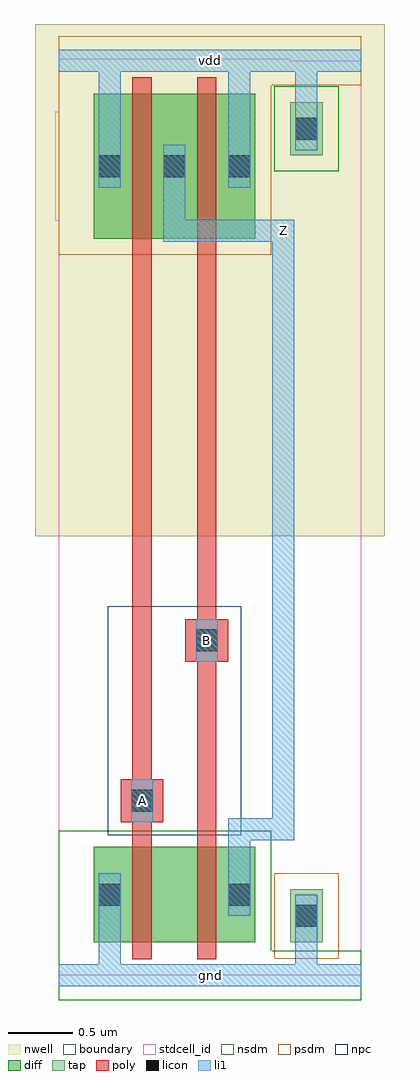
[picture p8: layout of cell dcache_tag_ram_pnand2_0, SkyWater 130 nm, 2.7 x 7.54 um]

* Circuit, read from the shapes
.subckt dcache_tag_ram_pnand2_0 A B Z gnd vdd
XM1 dcache_tag_ram_nmos_m1_w0_740_sli_dactive_2/D A gnd gnd sky130_fd_pr__nfet_01v8 w=0.74 l=0.15
XM2 Z B dcache_tag_ram_nmos_m1_w0_740_sli_dactive_2/D gnd sky130_fd_pr__nfet_01v8 w=0.74 l=0.15
XM3 Z A vdd vdd sky130_fd_pr__pfet_01v8 w=1.12 l=0.15
XM4 vdd B Z vdd sky130_fd_pr__pfet_01v8 w=1.12 l=0.15
.ends

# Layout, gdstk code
import gdstk
lib = gdstk.Library(unit=1e-6, precision=1e-09)
def R(c, l, rs):  # rectangles x0, y0, x1, y1
    for r in rs: c.add(gdstk.rectangle(r[:2], r[2:], *l))
nwell = (64, 20)
diff = (65, 20)
tap = (65, 44)
poly = (66, 20)
licon = (66, 44)
li1 = (67, 20)
stdcell_id = (81, 4)
nsdm = (93, 44)
psdm = (94, 20)
npc = (95, 20)
boundary = (235, 4)

dcache_tag_ram_contact_1 = lib.new_cell('dcache_tag_ram_contact_11')
R(dcache_tag_ram_contact_1, nwell, [(-0.295,-0.255,0.545,0.585)])
R(dcache_tag_ram_contact_1, diff, [(0,0.02,0.25,0.31)])
R(dcache_tag_ram_contact_1, licon, [(0.04,0.08,0.21,0.25)])
R(dcache_tag_ram_contact_1, li1, [(0.04,0,0.21,0.33)])
R(dcache_tag_ram_contact_1, stdcell_id, [(-0.295,-0.255,0.545,0.585)])
R(dcache_tag_ram_contact_1, psdm, [(-0.125,-0.105,0.375,0.435)])
R(dcache_tag_ram_contact_1, boundary, [(-0.295,-0.255,0.545,0.585)])

dcache_tag_ram_pmos_m1_w = lib.new_cell('dcache_tag_ram_pmos_m1_w1_120_sli_dli')
R(dcache_tag_ram_pmos_m1_w, nwell, [(-0.27,-0.27,1.02,1.39)])
R(dcache_tag_ram_pmos_m1_w, diff, [(0,0,0.75,1.12)])
R(dcache_tag_ram_pmos_m1_w, poly, [(0.3,-0.13,0.45,1.25), (0.3,-0.13,0.45,1.25)])
R(dcache_tag_ram_pmos_m1_w, li1, [(0.04,0.395,0.21,0.725), (0.54,0.395,0.71,0.725)])
R(dcache_tag_ram_pmos_m1_w, stdcell_id, [(-0.27,-0.27,1.02,1.39)])
R(dcache_tag_ram_pmos_m1_w, psdm, [(-0.125,-0.125,0.875,1.245)])
R(dcache_tag_ram_pmos_m1_w, boundary, [(-0.27,-0.27,1.02,1.39)])
dcache_tag_ram_pmos_m1_w.add(gdstk.Reference(dcache_tag_ram_contact_1, (0,0.395)))
dcache_tag_ram_pmos_m1_w.add(gdstk.Reference(dcache_tag_ram_contact_1, (0.5,0.395)))
dcache_tag_ram_pmos_m1_w.add(gdstk.Label('G', (0.375,0.56), layer=66, texttype=5))
dcache_tag_ram_pmos_m1_w.add(gdstk.Label('S', (0.125,0.56), layer=67, texttype=5))
dcache_tag_ram_pmos_m1_w.add(gdstk.Label('D', (0.625,0.56), layer=67, texttype=5))

c_dcache_tag_ram_contact_1 = lib.new_cell('dcache_tag_ram_contact_10')
R(c_dcache_tag_ram_contact_1, diff, [(0,0.02,0.25,0.31)])
R(c_dcache_tag_ram_contact_1, licon, [(0.04,0.08,0.21,0.25)])
R(c_dcache_tag_ram_contact_1, li1, [(0.04,0,0.21,0.33)])
R(c_dcache_tag_ram_contact_1, stdcell_id, [(-0.125,-0.105,0.375,0.435)])
R(c_dcache_tag_ram_contact_1, nsdm, [(-0.125,-0.105,0.375,0.435)])
R(c_dcache_tag_ram_contact_1, boundary, [(-0.125,-0.105,0.375,0.435)])

dcache_tag_ram_nmos_m1_w = lib.new_cell('dcache_tag_ram_nmos_m1_w0_740_sli_dactive')
R(dcache_tag_ram_nmos_m1_w, diff, [(0,0,0.75,0.74), (0.55,0.295,0.7,0.445)])
R(dcache_tag_ram_nmos_m1_w, poly, [(0.3,-0.13,0.45,0.87), (0.3,-0.13,0.45,0.87)])
R(dcache_tag_ram_nmos_m1_w, li1, [(0.04,0.205,0.21,0.535)])
R(dcache_tag_ram_nmos_m1_w, stdcell_id, [(-0.125,-0.13,0.875,0.87)])
R(dcache_tag_ram_nmos_m1_w, nsdm, [(-0.125,-0.125,0.875,0.865)])
R(dcache_tag_ram_nmos_m1_w, boundary, [(-0.125,-0.13,0.875,0.87)])
dcache_tag_ram_nmos_m1_w.add(gdstk.Reference(c_dcache_tag_ram_contact_1, (0,0.205)))
dcache_tag_ram_nmos_m1_w.add(gdstk.Label('G', (0.375,0.37), layer=66, texttype=5))
dcache_tag_ram_nmos_m1_w.add(gdstk.Label('S', (0.125,0.37), layer=67, texttype=5))
dcache_tag_ram_nmos_m1_w.add(gdstk.Label('D', (0.625,0.37), layer=65, texttype=5))

c_dcache_tag_ram_nmos_m1_w = lib.new_cell('dcache_tag_ram_nmos_m1_w0_740_sactive_dli')
R(c_dcache_tag_ram_nmos_m1_w, diff, [(0,0,0.75,0.74), (0.05,0.295,0.2,0.445)])
R(c_dcache_tag_ram_nmos_m1_w, poly, [(0.3,-0.13,0.45,0.87), (0.3,-0.13,0.45,0.87)])
R(c_dcache_tag_ram_nmos_m1_w, li1, [(0.54,0.205,0.71,0.535)])
R(c_dcache_tag_ram_nmos_m1_w, stdcell_id, [(-0.125,-0.13,0.875,0.87)])
R(c_dcache_tag_ram_nmos_m1_w, nsdm, [(-0.125,-0.125,0.875,0.865)])
R(c_dcache_tag_ram_nmos_m1_w, boundary, [(-0.125,-0.13,0.875,0.87)])
c_dcache_tag_ram_nmos_m1_w.add(gdstk.Reference(c_dcache_tag_ram_contact_1, (0.5,0.205)))
c_dcache_tag_ram_nmos_m1_w.add(gdstk.Label('G', (0.375,0.37), layer=66, texttype=5))
c_dcache_tag_ram_nmos_m1_w.add(gdstk.Label('S', (0.125,0.37), layer=65, texttype=5))
c_dcache_tag_ram_nmos_m1_w.add(gdstk.Label('D', (0.625,0.37), layer=67, texttype=5))

dcache_tag_ram_contact_2 = lib.new_cell('dcache_tag_ram_contact_24')
R(dcache_tag_ram_contact_2, nwell, [(-0.295,-0.215,0.545,0.625)])
R(dcache_tag_ram_contact_2, tap, [(0,0,0.25,0.41)])
R(dcache_tag_ram_contact_2, licon, [(0.04,0.12,0.21,0.29)])
R(dcache_tag_ram_contact_2, li1, [(0.04,0.04,0.21,0.37)])
R(dcache_tag_ram_contact_2, stdcell_id, [(-0.295,-0.215,0.545,0.625)])
R(dcache_tag_ram_contact_2, nsdm, [(-0.125,-0.125,0.375,0.535)])
R(dcache_tag_ram_contact_2, boundary, [(-0.295,-0.215,0.545,0.625)])

c_dcache_tag_ram_contact_2 = lib.new_cell('dcache_tag_ram_contact_25')
R(c_dcache_tag_ram_contact_2, tap, [(0,0,0.25,0.41)])
R(c_dcache_tag_ram_contact_2, licon, [(0.04,0.12,0.21,0.29)])
R(c_dcache_tag_ram_contact_2, li1, [(0.04,0.04,0.21,0.37)])
R(c_dcache_tag_ram_contact_2, stdcell_id, [(-0.125,-0.125,0.375,0.535)])
R(c_dcache_tag_ram_contact_2, psdm, [(-0.125,-0.125,0.375,0.535)])
R(c_dcache_tag_ram_contact_2, boundary, [(-0.125,-0.125,0.375,0.535)])

c_dcache_tag_ram_contact_1_ = lib.new_cell('dcache_tag_ram_contact_15')
R(c_dcache_tag_ram_contact_1_, poly, [(0,0,0.33,0.33)])
R(c_dcache_tag_ram_contact_1_, licon, [(0.08,0.08,0.25,0.25)])
R(c_dcache_tag_ram_contact_1_, li1, [(0.08,0,0.25,0.33)])
R(c_dcache_tag_ram_contact_1_, stdcell_id, [(-0.1,-0.1,0.43,0.43)])
R(c_dcache_tag_ram_contact_1_, npc, [(-0.1,-0.1,0.43,0.43)])
R(c_dcache_tag_ram_contact_1_, boundary, [(-0.1,-0.1,0.43,0.43)])

dcache_tag_ram_pnand2_0 = lib.new_cell('dcache_tag_ram_pnand2_0')
R(dcache_tag_ram_pnand2_0, nwell, [(-0.18,3.395,2.52,7.355)])
R(dcache_tag_ram_pnand2_0, poly, [(0.57,1.125,0.72,5.565), (1.07,1.125,1.22,5.565), (0.57,1.185,0.645,1.515), (1.07,2.425,1.145,2.755)])
R(dcache_tag_ram_pnand2_0, li1, [(0,-0.085,2.34,0.085), (0.31,-0.085,0.48,0.46), (1.83,0,2,0.46), (1.31,0.79,1.48,1.13), (1.31,1.045,1.48,1.215), (1.395,1.045,1.735,1.215), (1.65,1.045,1.82,1.215), (1.65,1.13,1.82,5.755), (0.56,1.185,0.73,1.515), (1.06,2.425,1.23,2.755), (0.81,5.67,0.98,5.84), (0.895,5.67,1.735,5.84), (1.65,5.67,1.82,5.84), (0.81,5.755,0.98,6.09), (0.31,6.09,0.48,7.155), (1.31,6.09,1.48,7.155), (1.83,6.545,2,7.07), (0,6.985,2.34,7.155)])
R(dcache_tag_ram_pnand2_0, stdcell_id, [(0,0,2.34,7.07), (0,0,2.34,7.07)])
R(dcache_tag_ram_pnand2_0, nsdm, [(0,-0.19,2.34,0.19), (0,0,1.645,1.12)])
R(dcache_tag_ram_pnand2_0, psdm, [(0,5.57,1.645,7.07), (0,6.88,2.34,7.26)])
R(dcache_tag_ram_pnand2_0, npc, [(0.38,1.085,1.41,2.855)])
R(dcache_tag_ram_pnand2_0, boundary, [(0,0,2.34,7.07), (0,0,2.34,7.07)])
dcache_tag_ram_pnand2_0.add(gdstk.Reference(dcache_tag_ram_pmos_m1_w, (0.27,5.695)))
dcache_tag_ram_pnand2_0.add(gdstk.Reference(dcache_tag_ram_pmos_m1_w, (0.77,5.695)))
dcache_tag_ram_pnand2_0.add(gdstk.Reference(dcache_tag_ram_nmos_m1_w, (0.27,0.255)))
dcache_tag_ram_pnand2_0.add(gdstk.Reference(c_dcache_tag_ram_nmos_m1_w, (0.77,0.255)))
dcache_tag_ram_pnand2_0.add(gdstk.Reference(dcache_tag_ram_contact_2, (1.79,6.34)))
dcache_tag_ram_pnand2_0.add(gdstk.Reference(c_dcache_tag_ram_contact_2, (1.79,0.255)))
dcache_tag_ram_pnand2_0.add(gdstk.Reference(c_dcache_tag_ram_contact_1_, (0.48,1.185)))
dcache_tag_ram_pnand2_0.add(gdstk.Reference(c_dcache_tag_ram_contact_1_, (0.98,2.425)))
dcache_tag_ram_pnand2_0.add(gdstk.Label('Z', (1.735,5.755), layer=67, texttype=5))
dcache_tag_ram_pnand2_0.add(gdstk.Label('gnd', (1.17,0), layer=67, texttype=5))
dcache_tag_ram_pnand2_0.add(gdstk.Label('vdd', (1.17,7.07), layer=67, texttype=5))
dcache_tag_ram_pnand2_0.add(gdstk.Label('A', (0.645,1.35), layer=67, texttype=5))
dcache_tag_ram_pnand2_0.add(gdstk.Label('B', (1.145,2.59), layer=67, texttype=5))

lib.write_gds('dcache_tag_ram_pnand2_0.gds')
